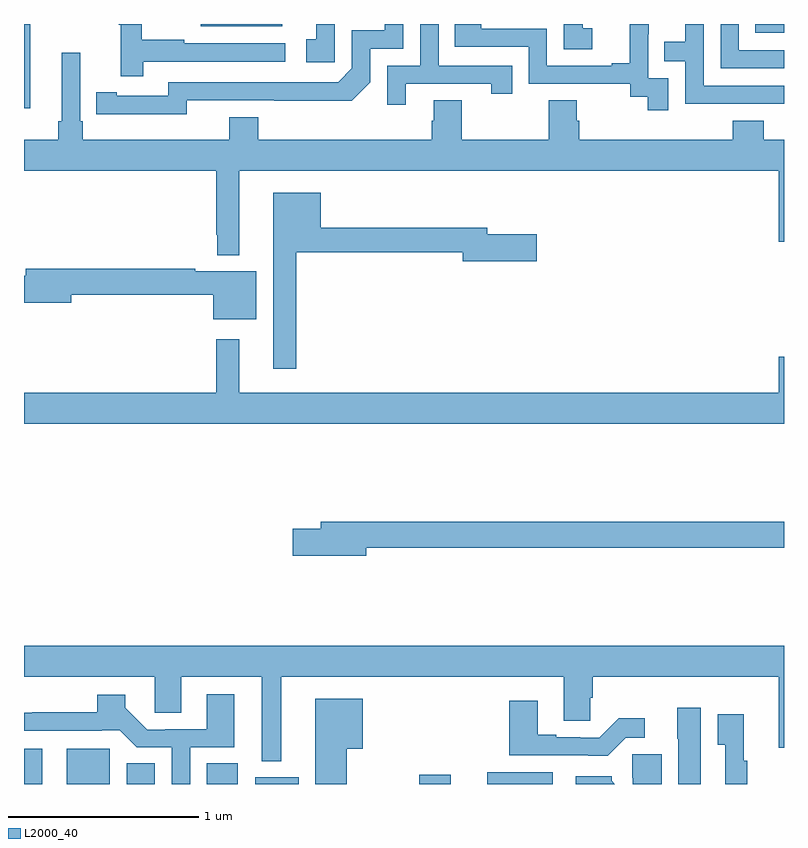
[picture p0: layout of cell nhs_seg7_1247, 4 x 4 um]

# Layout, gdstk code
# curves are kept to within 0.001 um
import gdstk
lib = gdstk.Library(unit=1e-6, precision=1e-09)
def R(c, l, rs):  # rectangles x0, y0, x1, y1
    for r in rs: c.add(gdstk.rectangle(r[:2], r[2:], *l))
def P(c, l, *ps):  # polygons
    for p in ps: c.add(gdstk.Polygon(p, *l))
L2000_40 = (2000, 40)

nhs_seg7_1247 = lib.new_cell('nhs_seg7_1247')
R(nhs_seg7_1247, L2000_40, [(197,1052,197.095,1052.185), (197.225,1052,197.452,1052.185), (197.54,1052,197.689,1052.108), (197.963,1052,198.124,1052.108), (198.218,1052,198.445,1052.035), (199.081,1052,199.246,1052.05), (199.439,1052,199.783,1052.062), (197,1055.556,197.032,1056), (200.848,1055.954,201,1056), (197.931,1055.987,198.358,1056)])
P(nhs_seg7_1247, L2000_40, [(200.391,1055.715),(200.286,1055.715),(200.286,1055.945),(200.288,1055.945),(200.288,1056),(200.189,1056),(200.189,1055.794),(200.093,1055.794),(200.093,1055.781),(199.752,1055.781),(199.752,1055.976),(199.407,1055.976),(199.407,1056),(199.267,1056),(199.267,1055.88),(199.656,1055.88),(199.656,1055.685),(200.19,1055.685),(200.19,1055.617),(200.283,1055.617),(200.283,1055.547),(200.391,1055.547)],
  [(198.636,1056),(198.539,1056),(198.539,1055.919),(198.486,1055.919),(198.486,1055.799),(198.636,1055.799)],
  [(197.856,1055.598),(198.724,1055.597),(198.822,1055.694),(198.822,1055.871),(198.996,1055.871),(198.996,1056),(198.899,1056),(198.899,1055.967),(198.726,1055.967),(198.726,1055.766),(198.654,1055.694),(197.76,1055.694),(197.76,1055.622),(197.488,1055.622),(197.488,1055.642),(197.38,1055.642),(197.38,1055.526),(197.856,1055.525)],
  [(199.99,1055.977),(199.941,1055.977),(199.941,1056),(199.842,1056),(199.842,1055.868),(199.99,1055.868)],
  [(199.009,1055.685),(199.46,1055.685),(199.46,1055.634),(199.571,1055.634),(199.571,1055.781),(199.182,1055.781),(199.182,1056),(199.086,1056),(199.086,1055.781),(198.912,1055.781),(198.912,1055.574),(199.009,1055.574)],
  [(201,1055.676),(200.577,1055.676),(200.577,1056),(200.481,1056),(200.481,1055.906),(200.371,1055.906),(200.371,1055.805),(200.481,1055.805),(200.481,1055.58),(200.977,1055.58),(200.977,1055.579),(201,1055.579)],
  [(201,1055.862),(200.763,1055.862),(200.763,1056),(200.667,1056),(200.667,1055.766),(201,1055.766)],
  [(197.627,1055.802),(198.376,1055.802),(198.376,1055.898),(197.843,1055.898),(197.843,1055.918),(197.62,1055.918),(197.62,1056),(197.499,1056),(197.499,1055.995),(197.51,1055.995),(197.51,1055.724),(197.627,1055.724)],
  [(198.133,1055.228),(200.972,1055.228),(200.972,1054.854),(201,1054.854),(201,1055.392),(200.894,1055.392),(200.894,1055.491),(200.729,1055.491),(200.729,1055.392),(199.922,1055.392),(199.922,1055.49),(199.909,1055.49),(199.909,1055.6),(199.762,1055.6),(199.762,1055.392),(199.305,1055.392),(199.305,1055.6),(199.157,1055.6),(199.157,1055.49),(199.145,1055.49),(199.145,1055.392),(198.233,1055.392),(198.233,1055.509),(198.08,1055.509),(198.08,1055.392),(197.309,1055.392),(197.309,1055.488),(197.295,1055.488),(197.295,1055.848),(197.198,1055.848),(197.198,1055.488),(197.179,1055.488),(197.179,1055.392),(197,1055.392),(197,1055.228),(198.012,1055.228),(198.012,1054.891),(198.018,1054.891),(198.018,1054.784),(198.133,1054.784)],
  [(198.433,1054.798),(199.31,1054.798),(199.31,1054.751),(199.699,1054.751),(199.699,1054.893),(199.438,1054.893),(199.438,1054.927),(198.562,1054.927),(198.562,1055.113),(198.311,1055.113),(198.311,1054.185),(198.433,1054.185)],
  [(198.223,1054.699),(197.9,1054.699),(197.9,1054.712),(197.009,1054.712),(197.009,1054.676),(197,1054.676),(197,1054.534),(197.248,1054.534),(197.248,1054.576),(197.996,1054.576),(197.996,1054.445),(198.223,1054.445)],
  [(201,1054.249),(200.972,1054.249),(200.972,1054.06),(198.133,1054.06),(198.133,1054.342),(198.012,1054.342),(198.012,1054.06),(197,1054.06),(197,1053.896),(201,1053.896)],
  [(198.802,1053.244),(201,1053.244),(201,1053.38),(198.563,1053.38),(198.563,1053.344),(198.414,1053.344),(198.414,1053.202),(198.802,1053.202)],
  [(198.355,1052.564),(199.841,1052.564),(199.841,1052.332),(199.98,1052.332),(199.98,1052.454),(199.994,1052.454),(199.994,1052.564),(200.972,1052.564),(200.972,1052.19),(201,1052.19),(201,1052.728),(197,1052.728),(197,1052.564),(197.688,1052.564),(197.688,1052.374),(197.827,1052.374),(197.827,1052.564),(198.251,1052.564),(198.251,1052.12),(198.355,1052.12)],
  [(197.874,1052.193),(198.106,1052.193),(198.106,1052.473),(197.963,1052.473),(197.963,1052.289),(197.743,1052.289),(197.743,1052.286),(197.649,1052.286),(197.533,1052.402),(197.533,1052.47),(197.386,1052.47),(197.386,1052.378),(197.044,1052.378),(197.044,1052.376),(197,1052.376),(197,1052.28),(197.408,1052.28),(197.408,1052.283),(197.504,1052.283),(197.594,1052.193),(197.778,1052.193),(197.778,1052),(197.874,1052)],
  [(198.699,1052.186),(198.784,1052.186),(198.784,1052.449),(198.533,1052.449),(198.533,1052),(198.699,1052)],
  [(200.166,1052.244),(200.266,1052.244),(200.266,1052.347),(200.131,1052.347),(200.028,1052.244),(199.928,1052.244),(199.928,1052.247),(199.801,1052.247),(199.801,1052.26),(199.705,1052.26),(199.705,1052.437),(199.553,1052.437),(199.553,1052.151),(200.072,1052.15)],
  [(200.563,1052.401),(200.438,1052.401),(200.438,1052.238),(200.444,1052.238),(200.444,1052),(200.563,1052)],
  [(200.807,1052.123),(200.789,1052.123),(200.789,1052.368),(200.651,1052.368),(200.651,1052.207),(200.691,1052.207),(200.691,1052),(200.807,1052)],
  [(200.356,1052.157),(200.2,1052.157),(200.2,1052.034),(200.204,1052.034),(200.204,1052),(200.356,1052)],
  [(200.094,1052.016),(200.094,1052.041),(199.904,1052.041),(199.904,1052),(200.11,1052)])

lib.write_gds('nhs_seg7_1247.gds')
